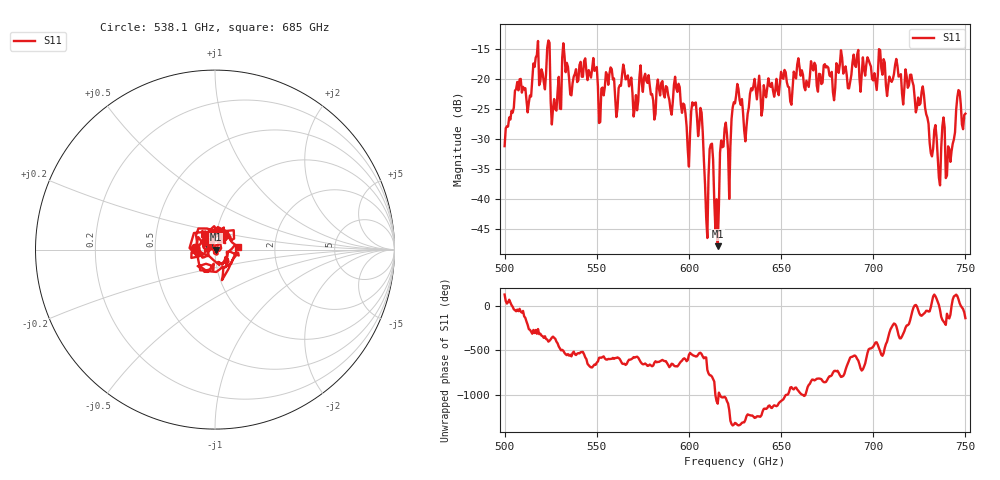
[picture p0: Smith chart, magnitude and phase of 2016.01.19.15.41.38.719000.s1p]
!Created with skrf (http://scikit-rf.org).
# GHz S RI R 50.0
!freq ReS11 ImS11
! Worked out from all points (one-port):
!   401 points, 500 GHz to 750 GHz, reference 50 ohm
!   lowest |S11| = -47.8 dB at 615.6 GHz (marker M1), VSWR 1.01, Z = 50.4 - j0.118 ohm
!   |S11| at or under -10 dB: start of sweep to end of sweep
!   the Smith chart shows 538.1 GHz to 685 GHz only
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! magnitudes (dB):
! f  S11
! 500 GHz  -31.1
! 507.5 GHz  -21.8
! 513.1 GHz  -23.9
! 516.9 GHz  -16.4
! 523.8 GHz  -13.5
! 526.9 GHz  -23.3
! 531.2 GHz  -16.4
! 562.5 GHz  -21.0
! 593.8 GHz  -22.1
! 599.4 GHz  -31.7
! 602.5 GHz  -24.3
! 606.2 GHz  -24.8
! 609.4 GHz  -43.1
! 611.9 GHz  -30.9
! 615.6 GHz  -47.8
! 618.1 GHz  -31.3
! 621.9 GHz  -39.9
! 625 GHz  -24.0
! 630.6 GHz  -30.3
! 634.4 GHz  -21.8
! 656.2 GHz  -21.6
! 687.5 GHz  -20.4
! 718.8 GHz  -21.4
! 727.5 GHz  -22.6
! 735.6 GHz  -36.4
! 740.6 GHz  -31.2
! 746.2 GHz  -21.8
! 750 GHz  -25.7
